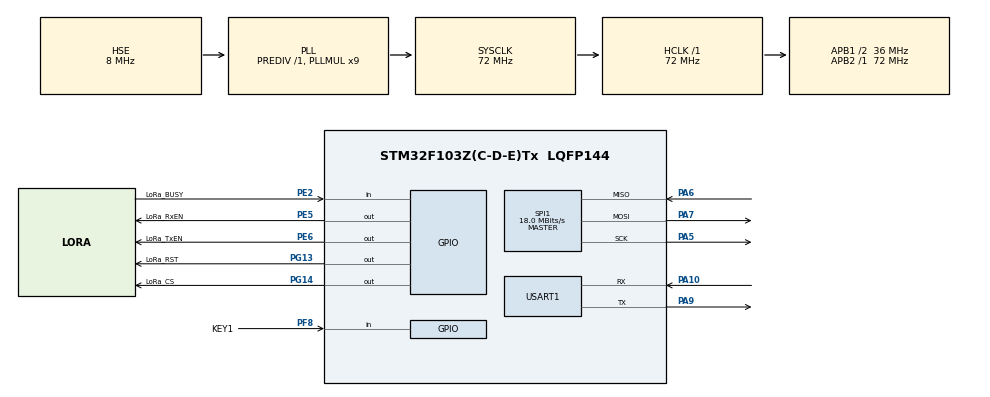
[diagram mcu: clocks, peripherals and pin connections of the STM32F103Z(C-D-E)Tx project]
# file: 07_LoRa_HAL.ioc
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Mcu.Family=STM32F1
Mcu.Name=STM32F103Z(C-D-E)Tx
Mcu.Package=LQFP144
NVIC.PriorityGroup=NVIC_PRIORITYGROUP_4
OSC_IN.Mode=HSE-External-Oscillator
OSC_IN.Signal=RCC_OSC_IN
OSC_OUT.Mode=HSE-External-Oscillator
OSC_OUT.Signal=RCC_OSC_OUT
PA10.Mode=Asynchronous
PA10.Signal=USART1_RX
PA13.Mode=Serial_Wire
PA13.Signal=SYS_JTMS-SWDIO
PA14.Mode=Serial_Wire
PA14.Signal=SYS_JTCK-SWCLK
PA5.Mode=Full_Duplex_Master
PA5.Signal=SPI1_SCK
PA6.Mode=Full_Duplex_Master
PA6.Signal=SPI1_MISO
PA7.Mode=Full_Duplex_Master
PA7.Signal=SPI1_MOSI
PA9.Mode=Asynchronous
PA9.Signal=USART1_TX
PC14-OSC32_IN.Mode=LSE-External-Oscillator
PC14-OSC32_IN.Signal=RCC_OSC32_IN
PC15-OSC32_OUT.Mode=LSE-External-Oscillator
PC15-OSC32_OUT.Signal=RCC_OSC32_OUT
PE2.GPIO_Label=LoRa_BUSY
PE2.GPIO_PuPd=GPIO_NOPULL
PE2.Signal=GPIO_Input
PE5.GPIO_Label=LoRa_RxEN
PE5.PinState=GPIO_PIN_SET
PE5.Signal=GPIO_Output
PE6.GPIO_Label=LoRa_TxEN
PE6.PinState=GPIO_PIN_SET
PE6.Signal=GPIO_Output
PF8.GPIO_Label=KEY1
PF8.GPIO_PuPd=GPIO_PULLUP
PF8.Signal=GPIO_Input
PG13.GPIO_Label=LoRa_RST
PG13.PinState=GPIO_PIN_SET
PG13.Signal=GPIO_Output
PG14.GPIO_Label=LoRa_CS
PG14.PinState=GPIO_PIN_SET
PG14.Signal=GPIO_Output
ProjectManager.HeapSize=0x200
ProjectManager.StackSize=0x400
ProjectManager.TargetToolchain=MDK-ARM V5.32
RCC.AHBFreq_Value=72000000
RCC.APB1CLKDivider=RCC_HCLK_DIV2
RCC.APB1Freq_Value=36000000
RCC.APB1TimFreq_Value=72000000
RCC.APB2Freq_Value=72000000
RCC.APB2TimFreq_Value=72000000
RCC.HCLKFreq_Value=72000000
RCC.PLLMUL=RCC_PLL_MUL9
RCC.PLLSourceVirtual=RCC_PLLSOURCE_HSE
RCC.SYSCLKFreq_VALUE=72000000
RCC.SYSCLKSource=RCC_SYSCLKSOURCE_PLLCLK
RCC.USBFreq_Value=72000000
SPI1.BaudRatePrescaler=SPI_BAUDRATEPRESCALER_4
SPI1.CalculateBaudRate=18.0 MBits/s
SPI1.Direction=SPI_DIRECTION_2LINES
SPI1.Mode=SPI_MODE_MASTER
SPI1.VirtualType=VM_MASTER
USART1.VirtualMode=VM_ASYNC
board=custom

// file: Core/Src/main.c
/* USER CODE BEGIN Header */
/**
 ******************************************************************************
 * @file           : main.c
 * @brief          : Main program body
 ******************************************************************************
 * @attention
 *
 * Copyright (c) 2024 STMicroelectronics.
 * All rights reserved.
 *
 * This software is licensed under terms that can be found in the LICENSE file
 * in the root directory of this software component.
 * If no LICENSE file comes with this software, it is provided AS-IS.
 *
 ******************************************************************************
 */
/* USER CODE END Header */
#include "main.h"
#include "spi.h"
#include "usart.h"
#include "gpio.h"

/* USER CODE BEGIN Includes */
#include "Inf_LoRa.h"
#include "string.h"
/* USER CODE END Includes */

void SystemClock_Config(void);

/* USER CODE BEGIN 0 */
uint8_t key1_detect(void)
{
    if(HAL_GPIO_ReadPin(KEY1_GPIO_Port, KEY1_Pin) == GPIO_PIN_RESET)
    {
        HAL_Delay(8);
        if(HAL_GPIO_ReadPin(KEY1_GPIO_Port, KEY1_Pin) == GPIO_PIN_RESET)
        {
            while(HAL_GPIO_ReadPin(KEY1_GPIO_Port, KEY1_Pin) == GPIO_PIN_RESET);
            return 1;
        }
    }
    return 0;
}

uint8_t  data[50];
uint16_t cnt = 0;
/* USER CODE END 0 */

int main(void)
{

    /* MCU Configuration--------------------------------------------------------*/

    /* Reset of all peripherals, Initializes the Flash interface and the Systick. */
    HAL_Init();

    /* Configure the system clock */
    SystemClock_Config();

    /* Initialize all configured peripherals */
    MX_GPIO_Init();
    MX_SPI1_Init();
    MX_USART1_UART_Init();

    /* Infinite loop */
    /* USER CODE BEGIN WHILE */
    printf("lora   1");
    Inf_LoRa_Init();
    while(1)
    {
        if(key1_detect() == 1)
        {
            cnt++;
            sprintf(data, "我是LoRa_1 %d", cnt);
            Inf_LoRa_SendData(data, strlen(data));
        }
        /* 接收数据 */
        Inf_LoRa_ReadData();
        /* USER CODE END WHILE */

    }
}

void SystemClock_Config(void)
{
    RCC_OscInitTypeDef RCC_OscInitStruct = {0};
    RCC_ClkInitTypeDef RCC_ClkInitStruct = {0};

    /** Initializes the RCC Oscillators according to the specified parameters
     * in the RCC_OscInitTypeDef structure.
     */
    RCC_OscInitStruct.OscillatorType = RCC_OSCILLATORTYPE_HSE;
    RCC_OscInitStruct.HSEState       = RCC_HSE_ON;
    RCC_OscInitStruct.HSEPredivValue = RCC_HSE_PREDIV_DIV1;
    RCC_OscInitStruct.HSIState       = RCC_HSI_ON;
    RCC_OscInitStruct.PLL.PLLState   = RCC_PLL_ON;
    RCC_OscInitStruct.PLL.PLLSource  = RCC_PLLSOURCE_HSE;
    RCC_OscInitStruct.PLL.PLLMUL     = RCC_PLL_MUL9;
    if(HAL_RCC_OscConfig(&RCC_OscInitStruct) != HAL_OK)
    {
        Error_Handler();
    }

    /** Initializes the CPU, AHB and APB buses clocks
     */
    RCC_ClkInitStruct.ClockType      = RCC_CLOCKTYPE_HCLK | RCC_CLOCKTYPE_SYSCLK | RCC_CLOCKTYPE_PCLK1 | RCC_CLOCKTYPE_PCLK2;
    RCC_ClkInitStruct.SYSCLKSource   = RCC_SYSCLKSOURCE_PLLCLK;
    RCC_ClkInitStruct.AHBCLKDivider  = RCC_SYSCLK_DIV1;
    RCC_ClkInitStruct.APB1CLKDivider = RCC_HCLK_DIV2;
    RCC_ClkInitStruct.APB2CLKDivider = RCC_HCLK_DIV1;

    if(HAL_RCC_ClockConfig(&RCC_ClkInitStruct, FLASH_LATENCY_2) != HAL_OK)
    {
        Error_Handler();
    }
}

void Error_Handler(void)
{
    __disable_irq();
    while(1)
    {
    }
}
